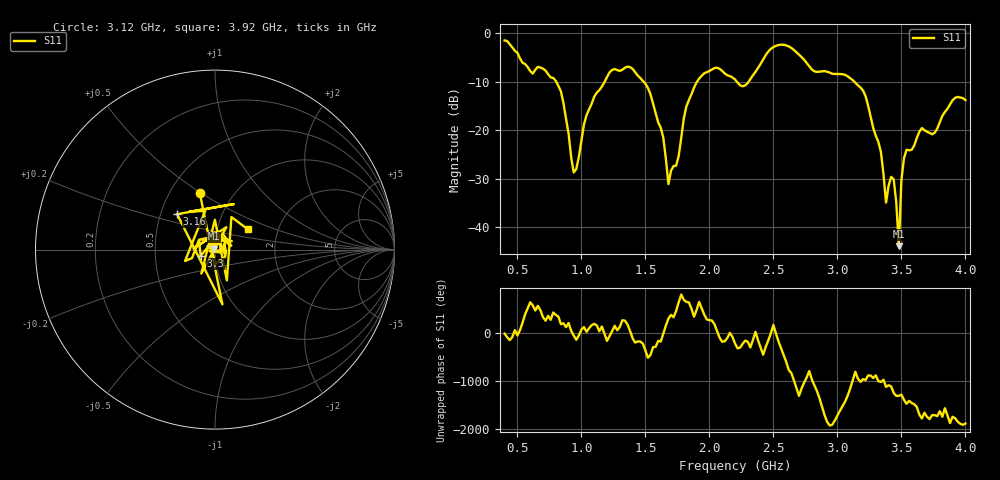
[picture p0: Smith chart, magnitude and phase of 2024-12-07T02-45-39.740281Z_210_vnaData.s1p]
!Created with skrf (http://scikit-rf.org).
# Hz S RI R 50.0
!freq ReS11 ImS11
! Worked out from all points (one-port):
!   181 points, 400 MHz to 4 GHz, reference 50 ohm
!   lowest |S11| = -43.9 dB at 3.48 GHz (marker M1), VSWR 1.01, Z = 49.5 + j0.429 ohm
!   |S11| at or under -10 dB: 802.8 MHz to 1.183 GHz (379.8 MHz wide, 38.3 % of centre); 1.485 GHz to 1.904 GHz (419.5 MHz wide, 24.8 % of centre); 3.131 GHz to end of sweep (the widest 3 of 4)
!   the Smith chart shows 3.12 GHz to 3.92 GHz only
!   S11 on the Smith chart (normalised r, x): 3.12 GHz: 0.70, +0.49; 3.16 GHz: 0.61, +0.26; 3.3 GHz: 0.85, -0.06; 3.92 GHz: 1.40, +0.33
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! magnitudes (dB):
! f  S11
! 400 MHz  -1.5
! 780 MHz  -9.3
! 860 MHz  -14.5
! 940 MHz  -28.7
! 1.1 GHz  -13.1
! 1.3 GHz  -7.8
! 1.52 GHz  -11.3
! 1.64 GHz  -21.6
! 1.68 GHz  -31.1
! 1.76 GHz  -25.3
! 1.82 GHz  -15.1
! 1.92 GHz  -9.4
! 2.2 GHz  -9.6
! 2.28 GHz  -10.8
! 2.5 GHz  -2.9
! 2.66 GHz  -3.5
! 3.1 GHz  -9.3
! 3.12 GHz  -9.7
! 3.16 GHz  -10.8
! 3.3 GHz  -21.2
! 3.34 GHz  -24.5
! 3.38 GHz  -34.9
! 3.44 GHz  -30.2
! 3.48 GHz  -43.9
! 3.5 GHz  -30.3
! 3.56 GHz  -24.2
! 3.92 GHz  -13.4
! 4 GHz  -13.8
